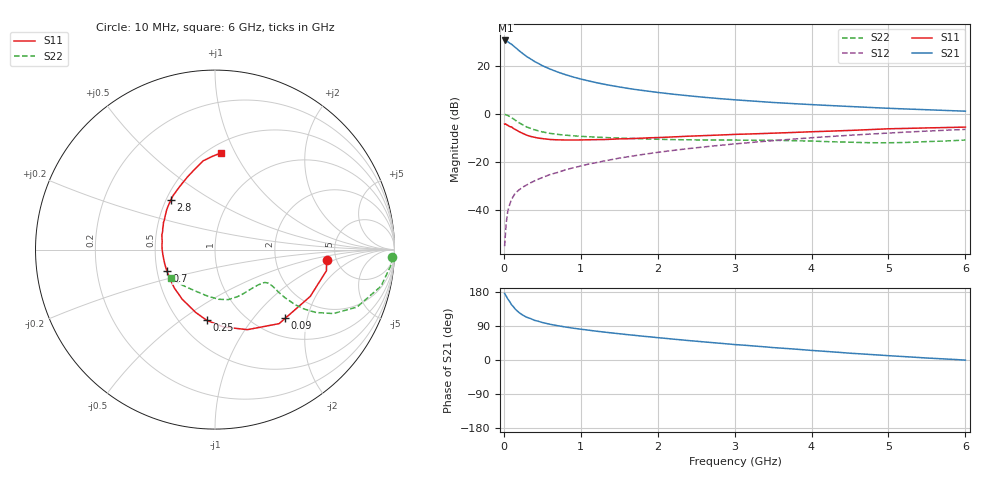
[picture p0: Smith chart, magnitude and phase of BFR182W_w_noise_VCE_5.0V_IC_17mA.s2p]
! Infineon Technologies  Discrete & RF Semiconductors
! BFR182W
! VCE =  5.0 V,  IC =  17 mA
! Common Emitter S-Parameters:  Jan 2017
# GHz  S  MA  R  50
!  f  S11  S21  S12  S22
! GHz  MAG  ANG  MAG  ANG  MAG  ANG  MAG  ANG
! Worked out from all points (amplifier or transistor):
!   77 points, 10 MHz to 6 GHz, reference 50 ohm
!   highest |S21| = 30.7 dB at 20 MHz (marker M1)
!   |S21| within 3 dB of that: start of sweep to 153.1 MHz
!   unconditionally stable (mu >= 1): 908.7 MHz to 2.414 GHz
!   at 130 MHz: K = 0.37, MSG = 31.1 dB, |S12| = -33.8 dB
!   at 2.2 GHz: K = 1.01, MAG = 11.0 dB, |S12| = -15.1 dB
!   at 6 GHz: K = 0.86, MSG = 3.8 dB, |S12| = -6.3 dB
!   lowest NFmin = 1.32 dB at 450 MHz
!   S11 on the Smith chart (normalised r, x): 10 MHz: 4.16, -0.79; 90 MHz: 1.36, -1.48; 250 MHz: 0.67, -0.63; 700 MHz: 0.56, -0.15; 2.8 GHz: 0.53, +0.34; 6 GHz: 0.58, +0.88
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0.01  0.6241 -5.3  34.04 175.8  0.0018 84.9  0.9888 -2.4
0.02  0.6321 -10.7  34.31 172.3  0.0031 84.5  0.9843 -5.1
0.05  0.5915 -26.1  32.43 161.5  0.0093 80.0  0.9474 -12.4
0.09  0.5474 -44.3  29.23 149.4  0.0153 73.9  0.8698 -20.0
0.1  0.5457 -49.1  28.66 146.0  0.0168 73.1  0.853 -22.1
0.15  0.4811 -68.0  24.52 133.9  0.0229 66.4  0.749 -28.4
0.2  0.4335 -83.7  20.94 124.8  0.0269 64.6  0.6632 -31.9
0.25  0.3969 -96.6  18.11 117.8  0.0307 63.1  0.5963 -33.7
0.3  0.3662 -107.1  15.76 112.6  0.034 62.7  0.5421 -34.5
0.4  0.3309 -123.7  12.5 104.6  0.0412 64.5  0.473 -34.5
0.5  0.3115 -136.7  10.28 99.0  0.0482 64.9  0.4297 -33.9
0.6  0.2985 -147.3  8.726 94.3  0.0556 66.6  0.4008 -33.0
0.7  0.2935 -155.7  7.56 90.5  0.0616 67.8  0.3814 -32.5
0.9  0.2907 -169.3  5.962 84.0  0.0768 68.9  0.3563 -32.2
1.1  0.2946 -179.7  4.947 78.8  0.0917 69.1  0.3405 -32.8
1.5  0.307 164.6  3.696 69.3  0.122 68.5  0.3192 -36.3
2.1  0.332 147.2  2.729 57.1  0.1688 65.9  0.2993 -45.9
2.8  0.3694 132.0  2.118 44.3  0.225 61.5  0.2913 -60.8
3.1  0.3848 125.9  1.948 39.4  0.2493 59.1  0.2891 -67.1
4.1  0.4376 109.5  1.558 23.9  0.3325 50.8  0.2732 -88.4
5.1  0.5023 96.4  1.312 10.2  0.4143 41.3  0.2564 -119.6
6  0.5402 86.4  1.159 -0.3  0.4845 32.3  0.2911 -146.9
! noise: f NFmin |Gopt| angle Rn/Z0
0.45  1.32  0.06  165  0.15
0.9  1.38  0.07  166  0.15
1.9  1.89  0.25  -146  0.15
2.4  2.15  0.25  -131  0.24
